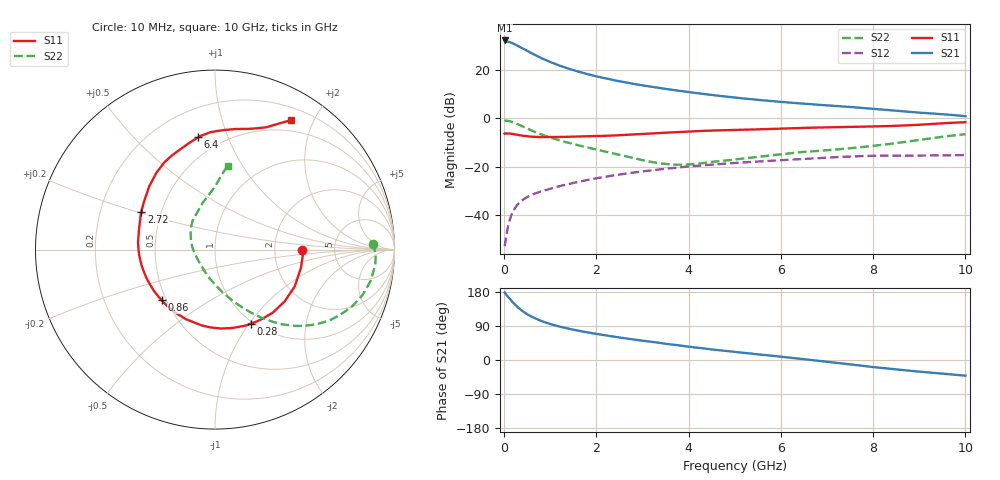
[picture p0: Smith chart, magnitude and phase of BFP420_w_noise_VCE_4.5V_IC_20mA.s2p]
! Infineon Technologies  Discrete & RF Semiconductors
! BFP420
! VCE =  4.5 V,  IC =  20 mA
! Common Emitter S-Parameters:  Jan 2016
# GHz  S  MA  R  50
!  f  S11  S21  S12  S22
! GHz  MAG  ANG  MAG  ANG  MAG  ANG  MAG  ANG
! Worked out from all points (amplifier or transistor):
!   233 points, 10 MHz to 10 GHz, reference 50 ohm
!   highest |S21| = 32.2 dB at 10 MHz (marker M1)
!   |S21| within 3 dB of that: start of sweep to 377.1 MHz
!   unconditionally stable (mu >= 1): start of sweep to 31.49 MHz; 1.832 GHz to end of sweep
!   at 200 MHz: K = 0.40, MSG = 34.5 dB, |S12| = -38.1 dB
!   at 1.74 GHz: K = 0.98, MSG = 22.2 dB, |S12| = -25.7 dB
!   at 10 GHz: K = 1.07, MAG = 6.4 dB, |S12| = -15.2 dB
!   lowest NFmin = 1.23 dB at 900 MHz
!   S11 on the Smith chart (normalised r, x): 10 MHz: 2.87, -0.03; 280 MHz: 0.97, -1.02; 860 MHz: 0.47, -0.32; 2.72 GHz: 0.39, +0.21; 6.4 GHz: 0.38, +0.79; 10 GHz: 0.35, +1.69
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0.01  0.4829 -0.5  40.64 178.4  0.0023 29.2  0.8808 2.2
0.02  0.4901 -4.1  39.32 176.0  0.0026 29.8  0.8954 -1.6
0.1  0.4896 -24.7  38.01 164.2  0.0068 62.6  0.8847 -11.4
0.15  0.4837 -36.5  36.67 157.1  0.0097 64.5  0.8602 -17.1
0.2  0.4765 -47.6  35.11 150.6  0.0124 63.7  0.8286 -22.2
0.28  0.4584 -64.2  32.19 141.0  0.0161 61.4  0.7701 -29.3
0.38  0.4425 -82.2  28.67 130.8  0.02 58.5  0.6964 -36.7
0.5  0.4286 -100.2  24.77 120.7  0.0238 56.0  0.6152 -43.7
0.6  0.4201 -112.5  22.02 113.9  0.0264 54.6  0.5579 -48.2
0.7  0.4151 -123.0  19.67 108.2  0.0288 53.8  0.509 -51.8
0.86  0.4097 -136.4  16.67 100.7  0.0324 53.2  0.4466 -56.6
1  0.4109 -146.4  14.59 94.9  0.0354 52.9  0.4018 -60.5
1.2  0.4135 -157.6  12.32 88.2  0.0398 52.7  0.3513 -65.2
1.68  0.4245 -177.6  8.844 75.7  0.0505 51.7  0.2676 -75.6
2.2  0.437 166.2  6.679 64.9  0.0625 49.3  0.2053 -87.3
2.72  0.4608 152.9  5.332 55.6  0.0742 45.7  0.1572 -103.0
3.4  0.4998 138.4  4.191 44.6  0.089 40.3  0.1173 -132.0
5.1  0.5799 113.3  2.628 20.1  0.1219 25.5  0.1452 157.2
6.4  0.6323 98.5  2.044 3.4  0.144 14.3  0.1991 129.7
6.8  0.6471 94.3  1.916 -1.9  0.1512 10.6  0.2127 122.7
8.4  0.6973 74.7  1.463 -23.7  0.1698 -6.8  0.2999 97.7
10  0.8352 59.6  1.111 -41.5  0.1746 -19.1  0.4715 81.5
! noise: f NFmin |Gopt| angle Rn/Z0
0.9  1.23  0.16  -154  0.13
1.8  1.51  0.24  -144  0.13
2.4  1.66  0.22  -141  0.15
3  1.69  0.3  -132  0.16
4  1.82  0.42  -115  0.23
5  2.28  0.48  -96  0.37
6  2.65  0.52  -86  0.56
